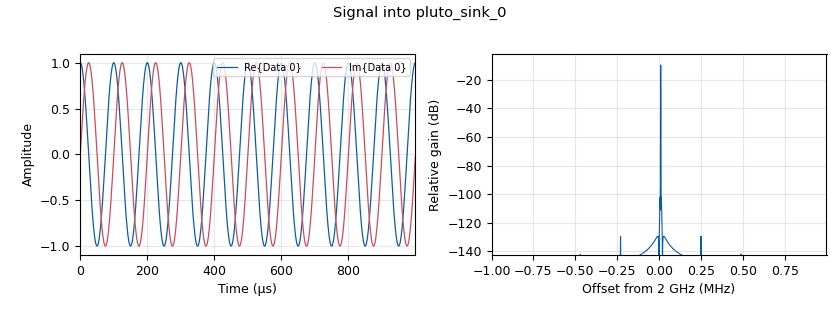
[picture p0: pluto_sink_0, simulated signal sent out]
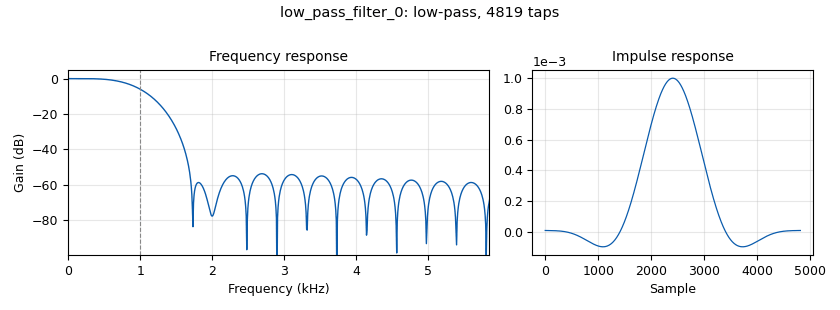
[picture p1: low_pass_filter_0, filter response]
<?xml version='1.0' encoding='utf-8'?>
<?grc format='1' created='3.7.11'?>
<flow_graph>
<block>
<key>options</key>
<param><key>id</key><value>RADAR_TX_INSTRUMENTATION</value></param>
<param><key>description</key><value>Provides graphical instrumentation for both tx and rx signals, processes radar algrithms and outputs the data to a network port</value></param>
<param><key>generate_options</key><value>qt_gui</value></param>
<param><key>title</key><value>KAN-DAR RADAR TX/RX INSTRUMENTATION SERVER</value></param>
</block>
<block>
<key>variable</key>
<param><key>id</key><value>C</value></param>
<param><key>value</key><value>299792458</value></param>
</block>
<block>
<key>variable</key>
<param><key>id</key><value>WL</value></param>
<param><key>value</key><value>C/samp_rate</value></param>
</block>
<block>
<key>variable</key>
<param><key>id</key><value>decim</value></param>
<param><key>value</key><value>512*4</value></param>
</block>
<block>
<key>variable</key>
<param><key>id</key><value>fft_size</value></param>
<param><key>value</key><value>512</value></param>
</block>
<block>
<key>variable_qtgui_range</key>
<param><key>id</key><value>gain</value></param>
<param><key>value</key><value>30</value></param>
<param><key>orient</key><value>Qt.Horizontal</value></param>
<param><key>start</key><value>0</value></param>
<param><key>step</key><value>1</value></param>
<param><key>stop</key><value>62</value></param>
</block>
<block>
<key>variable_qtgui_range</key>
<param><key>id</key><value>lo</value></param>
<param><key>value</key><value>2400000000</value></param>
<param><key>_enabled</key><value>0</value></param>
<param><key>label</key><value>lo freq</value></param>
<param><key>orient</key><value>Qt.Horizontal</value></param>
<param><key>start</key><value>10000000</value></param>
<param><key>step</key><value>100000</value></param>
<param><key>stop</key><value>6000000000</value></param>
</block>
<block>
<key>variable</key>
<param><key>id</key><value>lo</value></param>
<param><key>value</key><value>2000000000</value></param>
</block>
<block>
<key>variable_qtgui_range</key>
<param><key>id</key><value>q</value></param>
<param><key>value</key><value>10000</value></param>
<param><key>_enabled</key><value>0</value></param>
<param><key>label</key><value>Q</value></param>
<param><key>orient</key><value>Qt.Horizontal</value></param>
<param><key>start</key><value>10000</value></param>
<param><key>step</key><value>1</value></param>
<param><key>stop</key><value>10000000</value></param>
</block>
<block>
<key>variable</key>
<param><key>id</key><value>q</value></param>
<param><key>value</key><value>10000</value></param>
</block>
<block>
<key>variable</key>
<param><key>id</key><value>samp_rate</value></param>
<param><key>value</key><value>2000000</value></param>
</block>
<block>
<key>variable_qtgui_label</key>
<param><key>id</key><value>variable_qtgui_label_0</value></param>
<param><key>value</key><value>WL</value></param>
<param><key>label</key><value>Pulse wavelength in meters calculated to be:</value></param>
<param><key>type</key><value>int</value></param>
</block>
<block>
<key>analog_agc_xx</key>
<param><key>id</key><value>analog_agc_xx_0</value></param>
<param><key>gain</key><value>1.0</value></param>
<param><key>max_gain</key><value>65536</value></param>
<param><key>rate</key><value>1e-4</value></param>
<param><key>reference</key><value>1.0</value></param>
<param><key>type</key><value>complex</value></param>
</block>
<block>
<key>analog_agc_xx</key>
<param><key>id</key><value>analog_agc_xx_0_0</value></param>
<param><key>gain</key><value>1.0</value></param>
<param><key>max_gain</key><value>65536</value></param>
<param><key>rate</key><value>1e-4</value></param>
<param><key>reference</key><value>1.0</value></param>
<param><key>type</key><value>complex</value></param>
</block>
<block>
<key>analog_sig_source_x</key>
<param><key>id</key><value>analog_sig_source_x_0</value></param>
<param><key>amp</key><value>1</value></param>
<param><key>freq</key><value>10e3</value></param>
<param><key>offset</key><value>0</value></param>
<param><key>type</key><value>complex</value></param>
<param><key>samp_rate</key><value>samp_rate</value></param>
<param><key>waveform</key><value>analog.GR_COS_WAVE</value></param>
</block>
<block>
<key>blocks_complex_to_float</key>
<param><key>id</key><value>blocks_complex_to_float_0</value></param>
<param><key>_enabled</key><value>0</value></param>
</block>
<block>
<key>blocks_complex_to_mag</key>
<param><key>id</key><value>blocks_complex_to_mag_0</value></param>
<param><key>vlen</key><value>fft_size</value></param>
</block>
<block>
<key>blocks_complex_to_real</key>
<param><key>id</key><value>blocks_complex_to_real_0</value></param>
</block>
<block>
<key>blocks_complex_to_real</key>
<param><key>id</key><value>blocks_complex_to_real_0_0</value></param>
</block>
<block>
<key>blocks_complex_to_real</key>
<param><key>id</key><value>blocks_complex_to_real_0_1</value></param>
<param><key>_enabled</key><value>0</value></param>
</block>
<block>
<key>blocks_file_sink</key>
<param><key>id</key><value>blocks_file_sink_0</value></param>
<param><key>_enabled</key><value>0</value></param>
<param><key>file</key><value>C:\Python27\radar.bin</value></param>
<param><key>type</key><value>complex</value></param>
</block>
<block>
<key>blocks_keep_one_in_n</key>
<param><key>id</key><value>blocks_keep_one_in_n_0</value></param>
<param><key>_enabled</key><value>0</value></param>
<param><key>n</key><value>int(1e6)</value></param>
<param><key>type</key><value>float</value></param>
</block>
<block>
<key>blocks_moving_average_xx</key>
<param><key>id</key><value>blocks_moving_average_xx_0</value></param>
<param><key>_enabled</key><value>0</value></param>
<param><key>length</key><value>1000</value></param>
<param><key>max_iter</key><value>4000</value></param>
<param><key>scale</key><value>1e-3</value></param>
<param><key>type</key><value>float</value></param>
</block>
<block>
<key>blocks_multiply_conjugate_cc</key>
<param><key>id</key><value>blocks_multiply_conjugate_cc_0</value></param>
</block>
<block>
<key>blocks_stream_to_vector</key>
<param><key>id</key><value>blocks_stream_to_vector_0</value></param>
<param><key>type</key><value>complex</value></param>
<param><key>num_items</key><value>fft_size</value></param>
</block>
<block>
<key>blocks_udp_sink</key>
<param><key>id</key><value>blocks_udp_sink_0_0</value></param>
<param><key>ipaddr</key><value>192.168.0.108</value></param>
<param><key>port</key><value>3333</value></param>
<param><key>_enabled</key><value>0</value></param>
<param><key>type</key><value>complex</value></param>
<param><key>psize</key><value>1472</value></param>
<param><key>eof</key><value>True</value></param>
<param><key>vlen</key><value>1</value></param>
</block>
<block>
<key>blocks_vector_to_stream</key>
<param><key>id</key><value>blocks_vector_to_stream_0</value></param>
<param><key>type</key><value>float</value></param>
<param><key>num_items</key><value>fft_size</value></param>
</block>
<block>
<key>fft_vxx</key>
<param><key>id</key><value>fft_vxx_0_0_0</value></param>
<param><key>fft_size</key><value>fft_size</value></param>
<param><key>forward</key><value>False</value></param>
<param><key>type</key><value>complex</value></param>
<param><key>nthreads</key><value>8</value></param>
<param><key>shift</key><value>True</value></param>
<param><key>window</key><value>window.blackmanharris(fft_size)</value></param>
</block>
<block>
<key>low_pass_filter</key>
<param><key>id</key><value>low_pass_filter_0</value></param>
<param><key>cutoff_freq</key><value>1e3</value></param>
<param><key>decim</key><value>decim</value></param>
<param><key>type</key><value>fir_filter_ccf</value></param>
<param><key>gain</key><value>1</value></param>
<param><key>samp_rate</key><value>samp_rate</value></param>
<param><key>width</key><value>1e3</value></param>
<param><key>win</key><value>firdes.WIN_HAMMING</value></param>
</block>
<block>
<key>pluto_sink</key>
<param><key>id</key><value>pluto_sink_0</value></param>
<param><key>attenuation</key><value>0</value></param>
<param><key>buffer_size</key><value>0x8000</value></param>
<param><key>cyclic</key><value>False</value></param>
<param><key>auto_filter</key><value>True</value></param>
<param><key>filter</key><value></value></param>
<param><key>uri</key><value>ip:pluto.local</value></param>
<param><key>interpolation</key><value>1</value></param>
<param><key>frequency</key><value>lo</value></param>
<param><key>bandwidth</key><value>q</value></param>
<param><key>samplerate</key><value>samp_rate</value></param>
</block>
<block>
<key>pluto_source</key>
<param><key>id</key><value>pluto_source_0</value></param>
<param><key>bbdc</key><value>True</value></param>
<param><key>buffer_size</key><value>0x8000</value></param>
<param><key>decimation</key><value>1</value></param>
<param><key>uri</key><value>ip:pluto.local</value></param>
<param><key>auto_filter</key><value>True</value></param>
<param><key>filter</key><value></value></param>
<param><key>gain</key><value>"manual"</value></param>
<param><key>frequency</key><value>lo</value></param>
<param><key>manual_gain</key><value>60</value></param>
<param><key>quadrature</key><value>False</value></param>
<param><key>rfdc</key><value>False</value></param>
<param><key>bandwidth</key><value>q</value></param>
<param><key>samplerate</key><value>samp_rate</value></param>
</block>
<block>
<key>qtgui_number_sink</key>
<param><key>id</key><value>qtgui_number_sink_0_0</value></param>
<param><key>autoscale</key><value>True</value></param>
<param><key>_enabled</key><value>0</value></param>
<param><key>graph_type</key><value>qtgui.NUM_GRAPH_HORIZ</value></param>
<param><key>type</key><value>float</value></param>
<param><key>name</key><value>Multiply Conjugate</value></param>
</block>
<block>
<key>qtgui_number_sink</key>
<param><key>id</key><value>qtgui_number_sink_0_0_0</value></param>
<param><key>autoscale</key><value>True</value></param>
<param><key>_enabled</key><value>0</value></param>
<param><key>graph_type</key><value>qtgui.NUM_GRAPH_HORIZ</value></param>
<param><key>type</key><value>float</value></param>
<param><key>name</key><value>Multiply Conjugate</value></param>
</block>
<block>
<key>qtgui_time_raster_sink_x</key>
<param><key>id</key><value>qtgui_time_raster_sink_x_0</value></param>
<param><key>name</key><value>"Mag"</value></param>
<param><key>ncols</key><value>fft_size</value></param>
<param><key>nrows</key><value>256</value></param>
<param><key>samp_rate</key><value>samp_rate</value></param>
<param><key>type</key><value>float</value></param>
</block>
<block>
<key>qtgui_time_sink_x</key>
<param><key>id</key><value>qtgui_time_sink_x_0</value></param>
<param><key>color1</key><value>"blue"</value></param>
<param><key>label1</key><value></value></param>
<param><key>color2</key><value>"red"</value></param>
<param><key>label2</key><value></value></param>
<param><key>nconnections</key><value>2</value></param>
<param><key>size</key><value>1024</value></param>
<param><key>srate</key><value>samp_rate</value></param>
<param><key>tr_mode</key><value>qtgui.TRIG_MODE_AUTO</value></param>
<param><key>type</key><value>float</value></param>
</block>
<block>
<key>qtgui_waterfall_sink_x</key>
<param><key>id</key><value>qtgui_waterfall_sink_x_0</value></param>
<param><key>bw</key><value>samp_rate/decim</value></param>
<param><key>fc</key><value>0</value></param>
<param><key>fftsize</key><value>fft_size</value></param>
<param><key>showports</key><value>True</value></param>
<param><key>type</key><value>complex</value></param>
<param><key>wintype</key><value>firdes.WIN_BLACKMAN_hARRIS</value></param>
</block>
<connection><source_block_id>analog_agc_xx_0</source_block_id><sink_block_id>blocks_complex_to_real_0</sink_block_id><source_key>0</source_key><sink_key>0</sink_key></connection>
<connection><source_block_id>analog_agc_xx_0</source_block_id><sink_block_id>blocks_multiply_conjugate_cc_0</sink_block_id><source_key>0</source_key><sink_key>0</sink_key></connection>
<connection><source_block_id>analog_agc_xx_0_0</source_block_id><sink_block_id>blocks_complex_to_real_0_0</sink_block_id><source_key>0</source_key><sink_key>0</sink_key></connection>
<connection><source_block_id>analog_agc_xx_0_0</source_block_id><sink_block_id>blocks_multiply_conjugate_cc_0</sink_block_id><source_key>0</source_key><sink_key>1</sink_key></connection>
<connection><source_block_id>analog_sig_source_x_0</source_block_id><sink_block_id>analog_agc_xx_0</sink_block_id><source_key>0</source_key><sink_key>0</sink_key></connection>
<connection><source_block_id>analog_sig_source_x_0</source_block_id><sink_block_id>pluto_sink_0</sink_block_id><source_key>0</source_key><sink_key>0</sink_key></connection>
<connection><source_block_id>blocks_complex_to_float_0</source_block_id><sink_block_id>qtgui_number_sink_0_0</sink_block_id><source_key>1</source_key><sink_key>0</sink_key></connection>
<connection><source_block_id>blocks_complex_to_float_0</source_block_id><sink_block_id>blocks_moving_average_xx_0</sink_block_id><source_key>0</source_key><sink_key>0</sink_key></connection>
<connection><source_block_id>blocks_complex_to_mag_0</source_block_id><sink_block_id>blocks_vector_to_stream_0</sink_block_id><source_key>0</source_key><sink_key>0</sink_key></connection>
<connection><source_block_id>blocks_complex_to_real_0</source_block_id><sink_block_id>qtgui_number_sink_0_0_0</sink_block_id><source_key>0</source_key><sink_key>0</sink_key></connection>
<connection><source_block_id>blocks_complex_to_real_0</source_block_id><sink_block_id>qtgui_time_sink_x_0</sink_block_id><source_key>0</source_key><sink_key>0</sink_key></connection>
<connection><source_block_id>blocks_complex_to_real_0_0</source_block_id><sink_block_id>qtgui_number_sink_0_0</sink_block_id><source_key>0</source_key><sink_key>0</sink_key></connection>
<connection><source_block_id>blocks_complex_to_real_0_0</source_block_id><sink_block_id>qtgui_time_sink_x_0</sink_block_id><source_key>0</source_key><sink_key>1</sink_key></connection>
<connection><source_block_id>blocks_complex_to_real_0_1</source_block_id><sink_block_id>blocks_moving_average_xx_0</sink_block_id><source_key>0</source_key><sink_key>0</sink_key></connection>
<connection><source_block_id>blocks_moving_average_xx_0</source_block_id><sink_block_id>blocks_keep_one_in_n_0</sink_block_id><source_key>0</source_key><sink_key>0</sink_key></connection>
<connection><source_block_id>blocks_multiply_conjugate_cc_0</source_block_id><sink_block_id>blocks_complex_to_float_0</sink_block_id><source_key>0</source_key><sink_key>0</sink_key></connection>
<connection><source_block_id>blocks_multiply_conjugate_cc_0</source_block_id><sink_block_id>blocks_complex_to_real_0_1</sink_block_id><source_key>0</source_key><sink_key>0</sink_key></connection>
<connection><source_block_id>blocks_multiply_conjugate_cc_0</source_block_id><sink_block_id>low_pass_filter_0</sink_block_id><source_key>0</source_key><sink_key>0</sink_key></connection>
<connection><source_block_id>blocks_stream_to_vector_0</source_block_id><sink_block_id>fft_vxx_0_0_0</sink_block_id><source_key>0</source_key><sink_key>0</sink_key></connection>
<connection><source_block_id>blocks_vector_to_stream_0</source_block_id><sink_block_id>qtgui_time_raster_sink_x_0</sink_block_id><source_key>0</source_key><sink_key>0</sink_key></connection>
<connection><source_block_id>fft_vxx_0_0_0</source_block_id><sink_block_id>blocks_complex_to_mag_0</sink_block_id><source_key>0</source_key><sink_key>0</sink_key></connection>
<connection><source_block_id>low_pass_filter_0</source_block_id><sink_block_id>blocks_file_sink_0</sink_block_id><source_key>0</source_key><sink_key>0</sink_key></connection>
<connection><source_block_id>low_pass_filter_0</source_block_id><sink_block_id>blocks_stream_to_vector_0</sink_block_id><source_key>0</source_key><sink_key>0</sink_key></connection>
<connection><source_block_id>low_pass_filter_0</source_block_id><sink_block_id>blocks_udp_sink_0_0</sink_block_id><source_key>0</source_key><sink_key>0</sink_key></connection>
<connection><source_block_id>low_pass_filter_0</source_block_id><sink_block_id>qtgui_waterfall_sink_x_0</sink_block_id><source_key>0</source_key><sink_key>0</sink_key></connection>
<connection><source_block_id>pluto_source_0</source_block_id><sink_block_id>analog_agc_xx_0_0</sink_block_id><source_key>0</source_key><sink_key>0</sink_key></connection>
</flow_graph>
